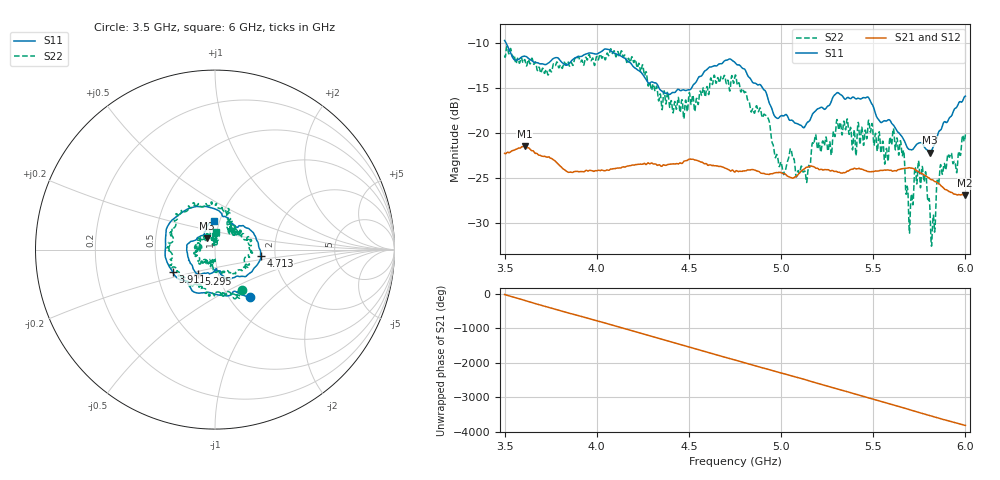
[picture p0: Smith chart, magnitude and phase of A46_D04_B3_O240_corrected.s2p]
! Created with skrf 1.9.0 (http://scikit-rf.org).
# Hz S RI R 50.0
!freq ReS11 ImS11 ReS21 ImS21 ReS12 ImS12 ReS22 ImS22
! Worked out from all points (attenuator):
!   1601 points, 3.5 GHz to 6 GHz, reference 50 ohm
!   highest |S21| = -21.50 dB at 3.609 GHz (marker M1); lowest = -26.9 dB at 5.998 GHz (marker M2)
!   lowest |S11| = -22.2 dB at 5.808 GHz (marker M3), VSWR 1.17, Z = 45.3 + j5.68 ohm
!   |S11| at or under -10 dB: 3.509 GHz to end of sweep
!   |S22| runs from -32.6 to -10.3 dB; largest |S21 - S12| = 0.00094
!   S11 on the Smith chart (normalised r, x): 3.5 GHz: 1.25, -0.74; 3.911 GHz: 0.60, -0.16; 4.713 GHz: 1.67, -0.13; 5.295 GHz: 0.80, -0.22; 6 GHz: 0.94, +0.31
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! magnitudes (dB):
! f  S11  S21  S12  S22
! 3.5 GHz  -9.7  -22.3  -22.2  -11.3
! 3.609 GHz  -11.4  -21.5  -21.5  -11.8
! 3.911 GHz  -11.5  -24.3  -24.2  -12.0
! 3.917 GHz  -11.4  -24.3  -24.3  -11.9
! 4.141 GHz  -11.5  -23.8  -23.8  -11.3
! 4.334 GHz  -14.8  -23.6  -23.5  -16.3
! 4.713 GHz  -11.8  -24.1  -24.0  -14.2
! 4.75 GHz  -12.1  -24.3  -24.2  -13.6
! 4.925 GHz  -15.9  -24.6  -24.6  -18.2
! 5.014 GHz  -18.1  -24.5  -24.4  -24.6
! 5.167 GHz  -18.0  -23.7  -23.7  -21.4
! 5.295 GHz  -15.7  -24.3  -24.2  -20.0
! 5.584 GHz  -18.5  -24.1  -24.1  -22.1
! 5.656 GHz  -20.4  -24.0  -23.9  -22.4
! 5.703 GHz  -21.9  -23.9  -23.9  -27.7
! 5.736 GHz  -21.3  -24.2  -24.1  -25.7
! 5.775 GHz  -21.5  -24.7  -24.6  -25.5
! 5.808 GHz  -22.2  -25.1  -25.0  -28.6
! 5.825 GHz  -21.5  -25.3  -25.2  -29.3
! 5.873 GHz  -19.3  -26.0  -25.9  -24.5
! 5.998 GHz  -15.9  -26.9  -26.8  -20.4
! 6 GHz  -15.9  -26.9  -26.9  -20.2
